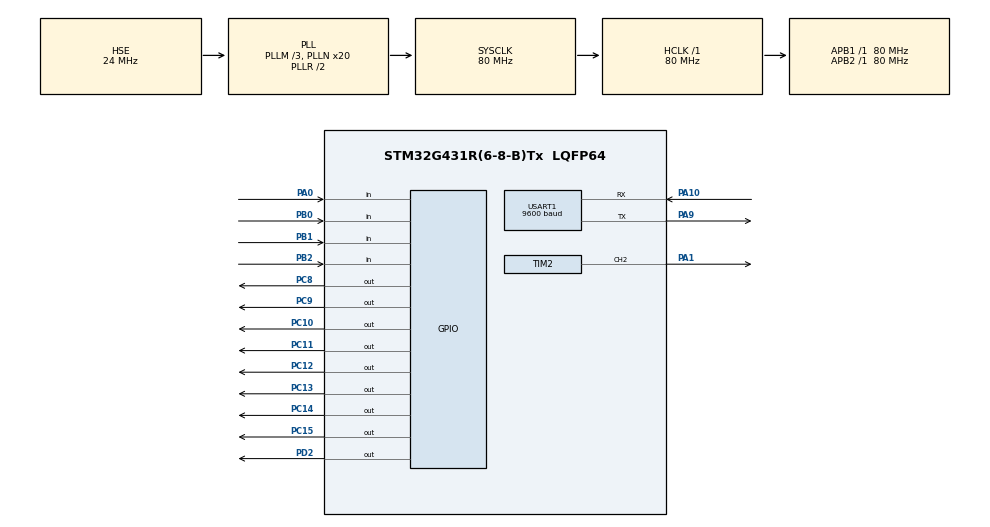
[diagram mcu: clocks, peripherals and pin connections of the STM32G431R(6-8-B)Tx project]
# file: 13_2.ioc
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Mcu.Family=STM32G4
Mcu.Name=STM32G431R(6-8-B)Tx
Mcu.Package=LQFP64
NVIC.PriorityGroup=NVIC_PRIORITYGROUP_4
NVIC.USART1_IRQn=true\:1\:0\:true\:false\:true\:true\:true\:true
PA0.GPIO_Mode=GPIO_MODE_INPUT
PA0.GPIO_PuPd=GPIO_NOPULL
PA0.Signal=GPIO_Input
PA1.Signal=S_TIM2_CH2
PA10.Mode=Asynchronous
PA10.Signal=USART1_RX
PA13.Mode=Serial_Wire
PA13.Signal=SYS_JTMS-SWDIO
PA14.Mode=Serial_Wire
PA14.Signal=SYS_JTCK-SWCLK
PA9.Mode=Asynchronous
PA9.Signal=USART1_TX
PB0.GPIO_Mode=GPIO_MODE_INPUT
PB0.GPIO_PuPd=GPIO_NOPULL
PB0.Signal=GPIO_Input
PB1.GPIO_Mode=GPIO_MODE_INPUT
PB1.GPIO_PuPd=GPIO_NOPULL
PB1.Signal=GPIO_Input
PB2.GPIO_Mode=GPIO_MODE_INPUT
PB2.GPIO_PuPd=GPIO_NOPULL
PB2.Signal=GPIO_Input
PC10.GPIO_ModeDefaultOutputPP=GPIO_MODE_OUTPUT_PP
PC10.GPIO_PuPd=GPIO_NOPULL
PC10.GPIO_Speed=GPIO_SPEED_FREQ_LOW
PC10.PinState=GPIO_PIN_SET
PC10.Signal=GPIO_Output
PC11.GPIO_ModeDefaultOutputPP=GPIO_MODE_OUTPUT_PP
PC11.GPIO_PuPd=GPIO_NOPULL
PC11.GPIO_Speed=GPIO_SPEED_FREQ_LOW
PC11.PinState=GPIO_PIN_SET
PC11.Signal=GPIO_Output
PC12.GPIO_ModeDefaultOutputPP=GPIO_MODE_OUTPUT_PP
PC12.GPIO_PuPd=GPIO_NOPULL
PC12.GPIO_Speed=GPIO_SPEED_FREQ_LOW
PC12.PinState=GPIO_PIN_SET
PC12.Signal=GPIO_Output
PC13.GPIO_ModeDefaultOutputPP=GPIO_MODE_OUTPUT_PP
PC13.GPIO_PuPd=GPIO_NOPULL
PC13.GPIO_Speed=GPIO_SPEED_FREQ_LOW
PC13.PinState=GPIO_PIN_SET
PC13.Signal=GPIO_Output
PC14-OSC32_IN.GPIO_ModeDefaultOutputPP=GPIO_MODE_OUTPUT_PP
PC14-OSC32_IN.GPIO_PuPd=GPIO_NOPULL
PC14-OSC32_IN.GPIO_Speed=GPIO_SPEED_FREQ_LOW
PC14-OSC32_IN.PinState=GPIO_PIN_SET
PC14-OSC32_IN.Signal=GPIO_Output
PC15-OSC32_OUT.GPIO_ModeDefaultOutputPP=GPIO_MODE_OUTPUT_PP
PC15-OSC32_OUT.GPIO_PuPd=GPIO_NOPULL
PC15-OSC32_OUT.GPIO_Speed=GPIO_SPEED_FREQ_LOW
PC15-OSC32_OUT.PinState=GPIO_PIN_SET
PC15-OSC32_OUT.Signal=GPIO_Output
PC8.GPIO_ModeDefaultOutputPP=GPIO_MODE_OUTPUT_PP
PC8.GPIO_PuPd=GPIO_NOPULL
PC8.GPIO_Speed=GPIO_SPEED_FREQ_LOW
PC8.PinState=GPIO_PIN_SET
PC8.Signal=GPIO_Output
PC9.GPIO_ModeDefaultOutputPP=GPIO_MODE_OUTPUT_PP
PC9.GPIO_PuPd=GPIO_NOPULL
PC9.GPIO_Speed=GPIO_SPEED_FREQ_LOW
PC9.PinState=GPIO_PIN_SET
PC9.Signal=GPIO_Output
PD2.GPIO_ModeDefaultOutputPP=GPIO_MODE_OUTPUT_PP
PD2.GPIO_PuPd=GPIO_NOPULL
PD2.GPIO_Speed=GPIO_SPEED_FREQ_LOW
PD2.PinState=GPIO_PIN_RESET
PD2.Signal=GPIO_Output
PF0-OSC_IN.Mode=HSE-External-Oscillator
PF0-OSC_IN.Signal=RCC_OSC_IN
PF1-OSC_OUT.Mode=HSE-External-Oscillator
PF1-OSC_OUT.Signal=RCC_OSC_OUT
ProjectManager.HeapSize=0x200
ProjectManager.StackSize=0x400
ProjectManager.TargetToolchain=MDK-ARM V5.32
RCC.ADC12Freq_Value=80000000
RCC.AHBFreq_Value=80000000
RCC.APB1Freq_Value=80000000
RCC.APB1TimFreq_Value=80000000
RCC.APB2Freq_Value=80000000
RCC.APB2TimFreq_Value=80000000
RCC.CortexFreq_Value=80000000
RCC.EXTERNAL_CLOCK_VALUE=12288000
RCC.HCLKFreq_Value=80000000
RCC.HSE_VALUE=24000000
RCC.HSI48_VALUE=48000000
RCC.HSI_VALUE=16000000
RCC.LSE_VALUE=32768
RCC.PLLM=RCC_PLLM_DIV3
RCC.PLLN=20
RCC.PLLSourceVirtual=RCC_PLLSOURCE_HSE
RCC.SYSCLKFreq_VALUE=80000000
RCC.SYSCLKSource=RCC_SYSCLKSOURCE_PLLCLK
RCC.USBFreq_Value=80000000
RCC.VCOOutputFreq_Value=160000000
SH.S_TIM2_CH2.0=TIM2_CH2,PWM Generation2 CH2
TIM2.AutoReloadPreload=TIM_AUTORELOAD_PRELOAD_ENABLE
TIM2.Channel-PWM\ Generation2\ CH2=TIM_CHANNEL_2
TIM2.Prescaler=80-1
USART1.BaudRate=9600
USART1.VirtualMode-Asynchronous=VM_ASYNC
VP_SYS_VS_DBSignals.Mode=DisableDeadBatterySignals
VP_TIM2_VS_ClockSourceINT.Mode=Internal
board=custom

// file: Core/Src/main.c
/* USER CODE BEGIN Header */
/**
  ******************************************************************************
  * @file           : main.c
  * @brief          : Main program body
  ******************************************************************************
  * @attention
  *
  * Copyright (c) 2025 STMicroelectronics.
  * All rights reserved.
  *
  * This software is licensed under terms that can be found in the LICENSE file
  * in the root directory of this software component.
  * If no LICENSE file comes with this software, it is provided AS-IS.
  *
  ******************************************************************************
  */
/* USER CODE END Header */
#include "main.h"
#include "tim.h"
#include "usart.h"
#include "gpio.h"

/* USER CODE BEGIN Includes */
#include "stdio.h"
#include "string.h"
#include "lcd.h"
#include "eeprom.h"
#include "key.h"
#include "led.h"
/* USER CODE END Includes */

/* USER CODE BEGIN PV */
typedef struct{
    uint8_t buy_num;
    float prise;
    uint8_t num;
}Good;

uint8_t page = 0;//0 == SHOP;1 == PRISE;2 == REP
Good X = { 0, 1.0, 10};
Good Y = { 0, 1.0, 10};
uint8_t eeprom_updata_flag = 0;
uint8_t eeprom_read_flag = 1;
char receive_buff[30];
uint16_t led_timer ;

/* USER CODE END PV */

void SystemClock_Config(void);

/* USER CODE BEGIN 0 */
void UI_Proc();
void KEY_Proc();
void EEPROM_Proc();
void LED_Proc();
void PWM_Proc();
/* USER CODE END 0 */

int main(void)
{

  /* MCU Configuration--------------------------------------------------------*/

  /* Reset of all peripherals, Initializes the Flash interface and the Systick. */
  HAL_Init();

  /* Configure the system clock */
  SystemClock_Config();

  /* Initialize all configured peripherals */
  MX_GPIO_Init();
  MX_USART1_UART_Init();
  MX_TIM2_Init();
  /* USER CODE BEGIN 2 */
    LCD_Init();
    LCD_Clear(Black);
    LCD_SetBackColor(Black);
    LCD_SetTextColor(White);

    I2CInit();
    HAL_UART_Init(&huart1);
    HAL_UART_Receive_IT(&huart1, (uint8_t*)receive_buff, 1);
    HAL_TIM_PWM_Start(&htim2, TIM_CHANNEL_2);
    htim2.Instance->ARR = 500-1;
  /* USER CODE END 2 */

  /* Infinite loop */
  /* USER CODE BEGIN WHILE */
  while (1)
  {
      EEPROM_Proc();
      KEY_Proc();
      UI_Proc();
      LED_Proc();
    /* USER CODE END WHILE */

  }
}

void SystemClock_Config(void)
{
  RCC_OscInitTypeDef RCC_OscInitStruct = {0};
  RCC_ClkInitTypeDef RCC_ClkInitStruct = {0};

  /** Configure the main internal regulator output voltage
  */
  HAL_PWREx_ControlVoltageScaling(PWR_REGULATOR_VOLTAGE_SCALE1);

  /** Initializes the RCC Oscillators according to the specified parameters
  * in the RCC_OscInitTypeDef structure.
  */
  RCC_OscInitStruct.OscillatorType = RCC_OSCILLATORTYPE_HSE;
  RCC_OscInitStruct.HSEState = RCC_HSE_ON;
  RCC_OscInitStruct.PLL.PLLState = RCC_PLL_ON;
  RCC_OscInitStruct.PLL.PLLSource = RCC_PLLSOURCE_HSE;
  RCC_OscInitStruct.PLL.PLLM = RCC_PLLM_DIV3;
  RCC_OscInitStruct.PLL.PLLN = 20;
  RCC_OscInitStruct.PLL.PLLP = RCC_PLLP_DIV2;
  RCC_OscInitStruct.PLL.PLLQ = RCC_PLLQ_DIV2;
  RCC_OscInitStruct.PLL.PLLR = RCC_PLLR_DIV2;
  if (HAL_RCC_OscConfig(&RCC_OscInitStruct) != HAL_OK)
  {
    Error_Handler();
  }

  /** Initializes the CPU, AHB and APB buses clocks
  */
  RCC_ClkInitStruct.ClockType = RCC_CLOCKTYPE_HCLK|RCC_CLOCKTYPE_SYSCLK
                              |RCC_CLOCKTYPE_PCLK1|RCC_CLOCKTYPE_PCLK2;
  RCC_ClkInitStruct.SYSCLKSource = RCC_SYSCLKSOURCE_PLLCLK;
  RCC_ClkInitStruct.AHBCLKDivider = RCC_SYSCLK_DIV1;
  RCC_ClkInitStruct.APB1CLKDivider = RCC_HCLK_DIV1;
  RCC_ClkInitStruct.APB2CLKDivider = RCC_HCLK_DIV1;

  if (HAL_RCC_ClockConfig(&RCC_ClkInitStruct, FLASH_LATENCY_2) != HAL_OK)
  {
    Error_Handler();
  }
}

/* USER CODE BEGIN 4 */
void KEY_Proc(){
    static uint8_t key[5];//index is Key id
    static char buff[20];

    KEY_Scan();
    KEY_GetFlag(key);

    if(key[1]){
        LCD_Clear(Black);
        if(++page == 3) page = 0;
    }
    switch (page)
    {
    	case 0:
            if(key[2]) if(++X.buy_num == X.num + 1) X.buy_num = 0;
            if(key[3]) if(++Y.buy_num == Y.num + 1) Y.buy_num = 0;
            if(key[4]) {
                sprintf(buff, "X:%d,Y:%d,Z:%.1f\r\n",X.buy_num, Y.buy_num, X.prise * X.buy_num + Y.prise * Y.buy_num );
                HAL_UART_Transmit(&huart1, (uint8_t*)buff, strlen(buff), HAL_MAX_DELAY);

                eeprom_updata_flag = 1;

                X.num -= X.buy_num;
                Y.num -= Y.buy_num;
                X.buy_num = 0;
                Y.buy_num = 0;

                htim2.Instance->CCR2 = 25;
                led.state |= 0x01;
                led_timer = 0;
            }
    		break;
    	case 1:
            if(key[2]){
                eeprom_updata_flag = 1;
                if(X.prise >= 2.0) X.prise = 1.0;// pay attention to float compare, >= cant change to ==.
                else X.prise += 0.1;
            }
            if(key[3]){
                eeprom_updata_flag = 1;
                if(Y.prise >= 2.0) Y.prise = 1.0;
                else Y.prise += 0.1;
            }
    		break;
    	default:
            if(key[2]){
                eeprom_updata_flag = 1;
                ++X.num;
            }
            if(key[3]){
                eeprom_updata_flag = 1;
                ++Y.num;
            }
    		break;
    }
}
void EEPROM_Proc(){
    if(eeprom_read_flag){
        if(EEPROM_Read(0) == 255) {
            EEPROM_Write(0,10);
            EEPROM_Write(1,10);
            EEPROM_Write(2,10);
            EEPROM_Write(3,10);
        }
        X.num = EEPROM_Read(0);
        Y.num = EEPROM_Read(1);
        X.prise = EEPROM_Read(2) / 10.0;
        Y.prise = EEPROM_Read(3) / 10.0;
        eeprom_read_flag = 0;
    }
    if(eeprom_updata_flag) {
        EEPROM_Write(0,X.num);
        EEPROM_Write(1,Y.num);
        EEPROM_Write(2,(uint8_t)(10 * X.prise));
        EEPROM_Write(3,(uint8_t)(10 * Y.prise));
        eeprom_updata_flag = 0;
    }
}
void UI_Proc(){
    static char buff[30];
    switch (page)
    {
    	case 0:
            LCD_DisplayStringLine(Line1, (u8*) "        DATA");
            sprintf(buff, "     X:%-5d",X.buy_num);
            LCD_DisplayStringLine(Line3, (u8*)buff);
            sprintf(buff, "     Y:%-5d",Y.buy_num);
            LCD_DisplayStringLine(Line4, (u8*)buff);
    		break;
    	case 1:
            LCD_DisplayStringLine(Line1, (u8*) "        PRISE");
            sprintf(buff, "     X:%-5.1f",X.prise);
            LCD_DisplayStringLine(Line3, (u8*)buff);
            sprintf(buff, "     Y:%-5.1f",Y.prise);
            LCD_DisplayStringLine(Line4, (u8*)buff);
    		break;
    	default:
            LCD_DisplayStringLine(Line1, (u8*) "        REP");
            sprintf(buff, "     X:%-5d",X.num);
            LCD_DisplayStringLine(Line3, (u8*)buff);
            sprintf(buff, "     Y:%-5d",Y.num);
            LCD_DisplayStringLine(Line4, (u8*)buff);
    		break;
    }
}
void LED_Proc(){
    LED_Updata();
    if(led_timer >= 5000){
        led_timer = 0;
        led.state &= ~0x01;
        htim2.Instance->CCR2 = 150;
    }
    if(X.num == 0 && Y.num == 0){
        if(led_timer % 200 < 100)  led.state &= ~(0x01<<1);
        else led.state |= 0x01<<1;
    } else led.state &= ~(0x01<<1);
}
void HAL_UART_RxCpltCallback(UART_HandleTypeDef *huart){
    if(huart == &huart1) {
        if(receive_buff[0] =='?') {
            sprintf(receive_buff, "X:%.1f,Y:%.1f\r\n",X.prise, Y.prise);
            HAL_UART_Transmit(&huart1, (uint8_t*)receive_buff, strlen(receive_buff), HAL_MAX_DELAY);
        }
        HAL_UART_Receive_IT(&huart1, (uint8_t*)receive_buff, 1);
    }
}
/* USER CODE END 4 */

void Error_Handler(void)
{
  __disable_irq();
  while (1)
  {
  }
}
